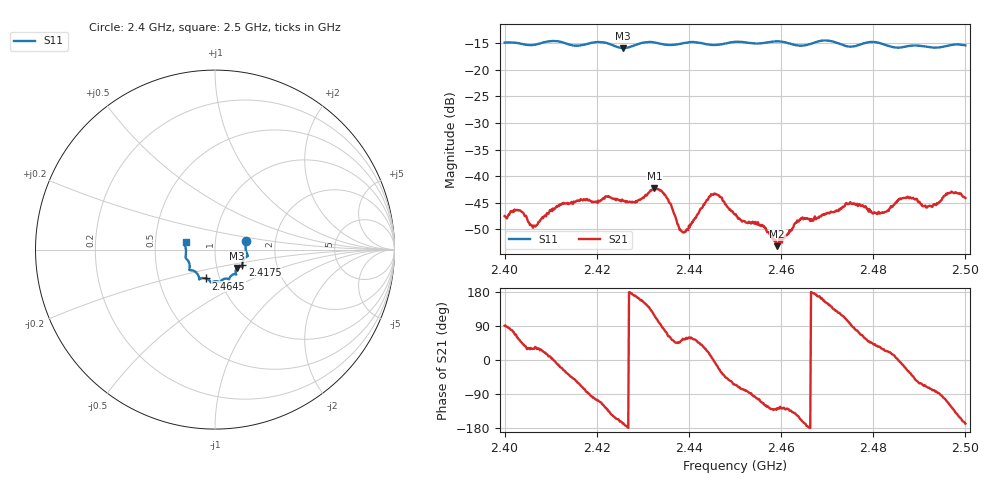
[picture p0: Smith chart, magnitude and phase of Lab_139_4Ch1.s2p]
# Hz S RI R 50
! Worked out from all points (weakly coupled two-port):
!   601 points, 2.4 GHz to 2.5 GHz, reference 50 ohm
!   highest |S21| = -42.22 dB at 2.4325 GHz (marker M1); lowest = -53.2 dB at 2.4592 GHz (marker M2)
!   lowest |S11| = -15.9 dB at 2.4257 GHz (marker M3), VSWR 1.38, Z = 62.5 - j13.1 ohm
!   |S11| at or under -10 dB: start of sweep to end of sweep
!   S12 and S22 are empty: the file has one direction only
!   S11 on the Smith chart (normalised r, x): 2.4 GHz: 1.41, +0.14; 2.4175 GHz: 1.33, -0.23; 2.4645 GHz: 0.86, -0.28; 2.5 GHz: 0.72, +0.06
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2.4e9  0.1729 0.0487  -3.23e-05 0.00421  0 0  0 0
2.403167e9  0.1741 0.033  0.00283 0.00385  0 0  0 0
2.4065e9  0.1717 -0.00408  0.00296 0.00172  0 0  0 0
2.4115e9  0.1818 -0.0362  0.00508 -0.000973  0 0  0 0
2.416667e9  0.1527 -0.0743  0.00214 -0.00559  0 0  0 0
2.4175e9  0.1516 -0.0835  0.00106 -0.00583  0 0  0 0
2.425667e9  0.1231 -0.1022  -0.00574 -0.00123  0 0  0 0
2.4325e9  0.1167 -0.138  -0.00359 0.00686  0 0  0 0
2.433333e9  0.113 -0.1369  -0.00149 0.00736  0 0  0 0
2.4385e9  0.0813 -0.1569  0.00184 0.00238  0 0  0 0
2.445333e9  0.0532 -0.1623  0.00667 -5.95e-05  0 0  0 0
2.45e9  0.0289 -0.181  0.00178 -0.00395  0 0  0 0
2.456167e9  -0.00763 -0.1781  -0.00134 -0.00307  0 0  0 0
2.459167e9  -0.0225 -0.1837  -0.00132 -0.00175  0 0  0 0
2.4645e9  -0.0515 -0.1605  -0.00379 -0.00135  0 0  0 0
2.466667e9  -0.0758 -0.1597  -0.0038 0.000169  0 0  0 0
2.4745e9  -0.1017 -0.131  -0.00117 0.00533  0 0  0 0
2.483333e9  -0.1409 -0.0903  0.00439 0.0017  0 0  0 0
2.487e9  -0.1552 -0.056  0.00584 -0.00227  0 0  0 0
2.491333e9  -0.1624 -0.0314  0.00199 -0.00488  0 0  0 0
2.496667e9  -0.1684 0.0248  -0.00333 -0.00607  0 0  0 0
2.5e9  -0.1639 0.0427  -0.00608 -0.00131  0 0  0 0
